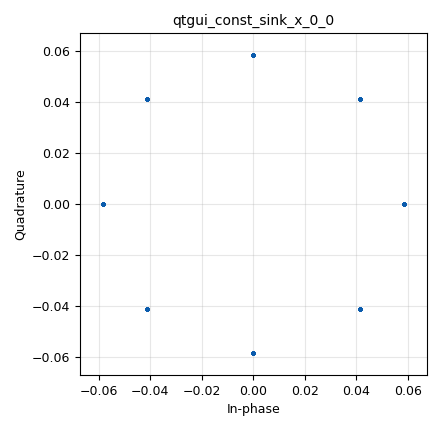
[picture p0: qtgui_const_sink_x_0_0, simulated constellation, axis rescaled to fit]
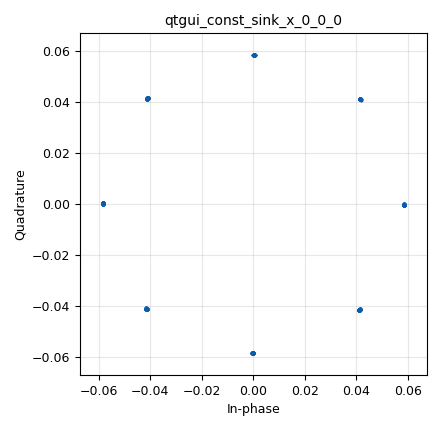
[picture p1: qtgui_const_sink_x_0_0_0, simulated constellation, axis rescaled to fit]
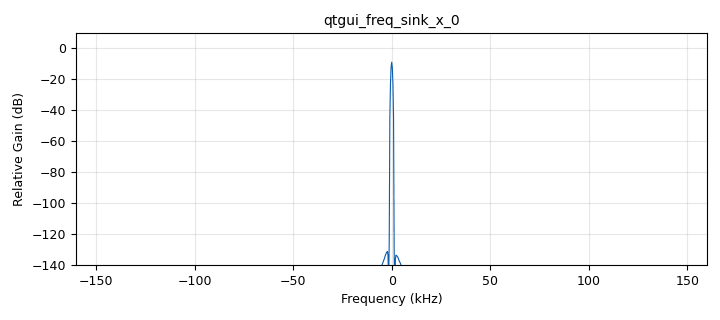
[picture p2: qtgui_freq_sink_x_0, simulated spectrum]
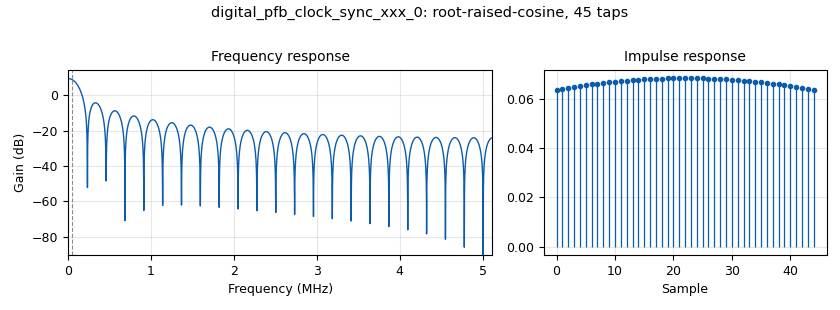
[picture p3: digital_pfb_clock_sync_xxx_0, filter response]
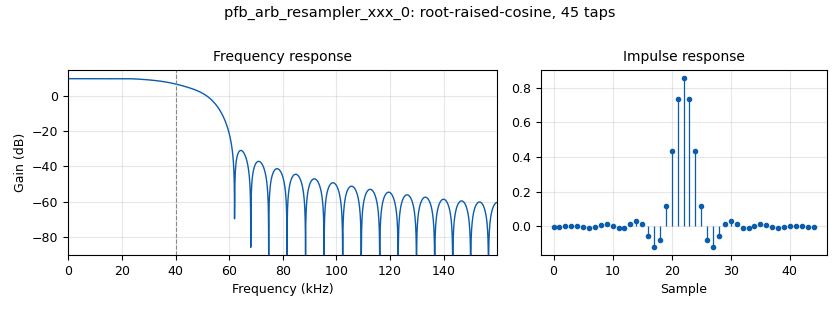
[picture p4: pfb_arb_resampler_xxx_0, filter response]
options:
  parameters:
    author: rohan
    generate_options: qt_gui
    id: lab10_1e
    output_language: python
    title: Not titled yet
  states: {}

blocks:
- name: samp_rate
  id: variable
  parameters:
    value: '320000'
  states: {}
- name: sps
  id: variable
  parameters:
    value: '4'
  states: {}
- name: symb_rate
  id: variable
  parameters:
    value: samp_rate//sps
  states: {}
- name: analog_random_source_x_0
  id: analog_random_source_x
  parameters:
    max: '8'
    min: '0'
    num_samps: '1000'
    repeat: 'True'
    type: byte
  states: {}
- name: analog_sig_source_x_0
  id: analog_sig_source_x
  parameters:
    amp: '1'
    freq: '0.1'
    offset: '0'
    phase: '0'
    samp_rate: samp_rate
    type: complex
    waveform: analog.GR_SIN_WAVE
  states: {}
- name: blocks_complex_to_arg_1
  id: blocks_complex_to_arg
  parameters: {}
  states: {}
- name: blocks_complex_to_arg_1_0
  id: blocks_complex_to_arg
  parameters: {}
  states: {state: disabled}
- name: blocks_conjugate_cc_0
  id: blocks_conjugate_cc
  parameters: {}
  states: {}
- name: blocks_delay_0
  id: blocks_delay
  parameters:
    delay: '1'
    type: float
  states: {state: disabled}
- name: blocks_delay_1
  id: blocks_delay
  parameters:
    delay: '1'
    type: complex
  states: {}
- name: blocks_multiply_const_vxx_0
  id: blocks_multiply_const_vxx
  parameters:
    const: '-1/8'
    type: float
  states: {}
- name: blocks_multiply_xx_0
  id: blocks_multiply_xx
  parameters:
    type: complex
  states: {}
- name: blocks_multiply_xx_1
  id: blocks_multiply_xx
  parameters:
    type: complex
  states: {}
- name: blocks_multiply_xx_1_0
  id: blocks_multiply_xx
  parameters:
    num_inputs: '8'
    type: complex
  states: {}
- name: blocks_multiply_xx_2
  id: blocks_multiply_xx
  parameters:
    type: complex
  states: {}
- name: blocks_sub_xx_0
  id: blocks_sub_xx
  parameters:
    type: float
  states: {state: disabled}
- name: blocks_vco_c_0
  id: blocks_vco_c
  parameters:
    amplitude: '1'
    samp_rate: samp_rate
    sensitivity: '320000'
  states: {}
- name: digital_chunks_to_symbols_xx_0
  id: digital_chunks_to_symbols_xx
  parameters:
    dimension: '1'
    in_type: byte
    out_type: complex
    symbol_table: '[1, 0.707 +0.707j, 1j, -0.707 +0.707j, -1, -0.707 - 0.707j, -1j, 0.707 - 0.707j]'
  states: {}
- name: digital_pfb_clock_sync_xxx_0
  id: digital_pfb_clock_sync_xxx
  parameters:
    filter_size: '32'
    init_phase: '16'
    loop_bw: (2*math.pi)/100
    max_dev: '1.5'
    osps: '1'
    sps: sps
    taps: firdes.root_raised_cosine(3,32*sps*symb_rate,symb_rate,0.5,11*sps)
    type: ccf
  states: {}
- name: import_0
  id: import
  parameters:
    imports: import math
  states: {}
- name: pfb_arb_resampler_xxx_0
  id: pfb_arb_resampler_xxx
  parameters:
    atten: '100'
    nfilts: '32'
    rrate: sps
    taps: firdes.root_raised_cosine(3,sps*symb_rate,symb_rate,0.5,11*sps)
    type: ccf
  states: {}
- name: qtgui_const_sink_x_0_0
  id: qtgui_const_sink_x
  parameters:
    size: '1024'
    type: complex
  states: {}
- name: qtgui_const_sink_x_0_0_0
  id: qtgui_const_sink_x
  parameters:
    size: '1024'
    type: complex
  states: {}
- name: qtgui_freq_sink_x_0
  id: qtgui_freq_sink_x
  parameters:
    bw: samp_rate
    fc: '0'
    fftsize: '1024'
    type: complex
  states: {}

connections:
- [analog_random_source_x_0, '0', digital_chunks_to_symbols_xx_0, '0']
- [analog_sig_source_x_0, '0', blocks_multiply_xx_0, '1']
- [blocks_complex_to_arg_1, '0', blocks_multiply_const_vxx_0, '0']
- [blocks_complex_to_arg_1_0, '0', blocks_delay_0, '0']
- [blocks_complex_to_arg_1_0, '0', blocks_sub_xx_0, '0']
- [blocks_conjugate_cc_0, '0', blocks_multiply_xx_1, '1']
- [blocks_delay_0, '0', blocks_sub_xx_0, '1']
- [blocks_delay_1, '0', blocks_conjugate_cc_0, '0']
- [blocks_multiply_const_vxx_0, '0', blocks_vco_c_0, '0']
- [blocks_multiply_xx_0, '0', digital_pfb_clock_sync_xxx_0, '0']
- [blocks_multiply_xx_1, '0', blocks_complex_to_arg_1, '0']
- [blocks_multiply_xx_1_0, '0', blocks_complex_to_arg_1_0, '0']
- [blocks_multiply_xx_1_0, '0', blocks_delay_1, '0']
- [blocks_multiply_xx_1_0, '0', blocks_multiply_xx_1, '0']
- [blocks_multiply_xx_2, '0', qtgui_const_sink_x_0_0, '0']
- [blocks_sub_xx_0, '0', blocks_vco_c_0, '0']
- [blocks_vco_c_0, '0', blocks_multiply_xx_2, '1']
- [blocks_vco_c_0, '0', qtgui_freq_sink_x_0, '0']
- [digital_chunks_to_symbols_xx_0, '0', pfb_arb_resampler_xxx_0, '0']
- [digital_pfb_clock_sync_xxx_0, '0', blocks_multiply_xx_1_0, '0']
- [digital_pfb_clock_sync_xxx_0, '0', blocks_multiply_xx_1_0, '1']
- [digital_pfb_clock_sync_xxx_0, '0', blocks_multiply_xx_1_0, '2']
- [digital_pfb_clock_sync_xxx_0, '0', blocks_multiply_xx_1_0, '3']
- [digital_pfb_clock_sync_xxx_0, '0', blocks_multiply_xx_1_0, '4']
- [digital_pfb_clock_sync_xxx_0, '0', blocks_multiply_xx_1_0, '5']
- [digital_pfb_clock_sync_xxx_0, '0', blocks_multiply_xx_1_0, '6']
- [digital_pfb_clock_sync_xxx_0, '0', blocks_multiply_xx_1_0, '7']
- [digital_pfb_clock_sync_xxx_0, '0', blocks_multiply_xx_2, '0']
- [digital_pfb_clock_sync_xxx_0, '0', qtgui_const_sink_x_0_0_0, '0']
- [pfb_arb_resampler_xxx_0, '0', blocks_multiply_xx_0, '0']

metadata:
  file_format: 1
